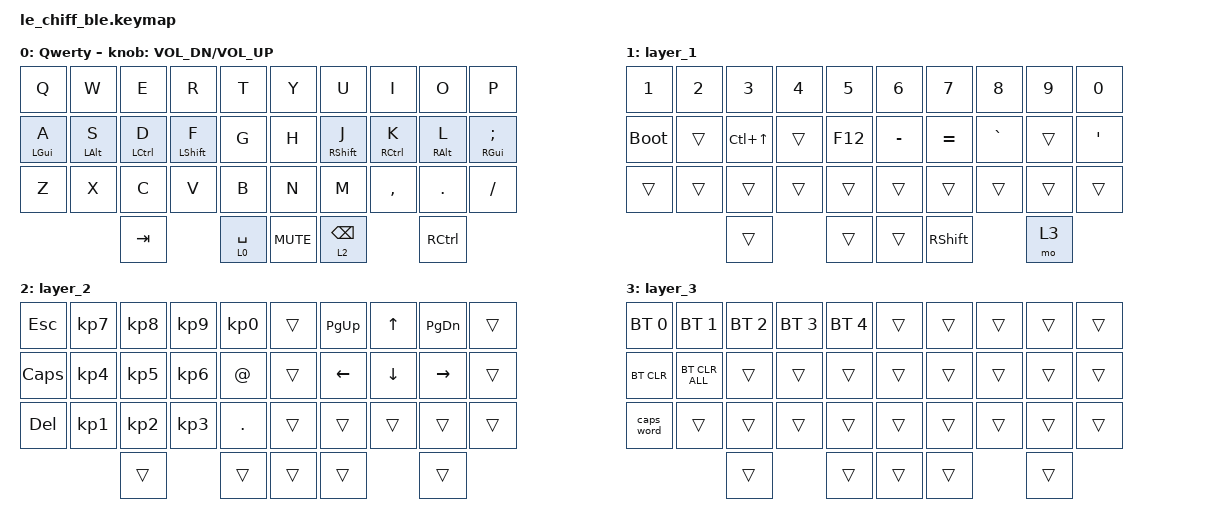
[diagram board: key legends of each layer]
/*
 * Copyright (c) 2021 @MangoIV
 *
 * SPDX-License-Identifier: MIT
 */

#include <behaviors.dtsi>
#include <dt-bindings/zmk/bt.h>
#include <dt-bindings/zmk/keys.h>

// makes it possible to hold backspace

&lt { quick_tap_ms = <200>; };

/ {
    combos {
        compatible = "zmk,combos";

        left_bkt {
            bindings = <&kp LBKT>;
            key-positions = <3 2>;
        };

        right_bkt {
            bindings = <&kp RBKT>;
            key-positions = <6 7>;
        };

        left_par {
            bindings = <&kp LPAR>;
            key-positions = <12 13>;
        };

        right_par {
            bindings = <&kp RPAR>;
            key-positions = <16 17>;
        };

        left_prc {
            bindings = <&kp LBRC>;
            key-positions = <22 23>;
        };

        right_prc {
            bindings = <&kp RBRC>;
            key-positions = <27 26>;
        };

        blsh {
            bindings = <&kp BSLH>;
            key-positions = <4 5>;
        };

        pipe {
            bindings = <&kp PIPE>;
            key-positions = <14 15>;
        };

        enter {
            bindings = <&kp ENTER>;
            key-positions = <19 18>;
        };
    };

    behaviors {
        hm: homerow_mods {
            compatible = "zmk,behavior-hold-tap";
            label = "homerow_mods";
            bindings = <&kp>, <&kp>;

            #binding-cells = <2>;
            flavor = "tap-preferred";
            tapping-term-ms = <200>;
        };
    };

    keymap {
        compatible = "zmk,keymap";

        default {
            label = "Qwerty";
            bindings = <
&kp Q       &kp W           &kp E        &kp R             &kp T        &kp Y       &kp U              &kp I        &kp O            &kp P
&hm LGUI A  &hm LEFT_ALT S  &hm LCTRL D  &hm LEFT_SHIFT F  &kp G        &kp H       &hm RIGHT_SHIFT J  &hm RCTRL K  &hm RIGHT_ALT L  &hm RIGHT_GUI SEMI
&kp Z       &kp X           &kp C        &kp V             &kp B        &kp N       &kp M              &kp COMMA    &kp DOT          &kp FSLH
                            &kp TAB                        &lt 0 SPACE  &kp C_MUTE  &lt 2 BACKSPACE                 &kp RCTRL
            >;

            sensor-bindings = <&inc_dec_kp C_VOL_DN C_VOL_UP>;
        };

        layer_1 {
            bindings = <
&kp NUMBER_1  &kp NUMBER_2  &kp NUMBER_3      &kp NUMBER_4  &kp N5   &kp NUMBER_6  &kp N7           &kp N8     &kp N9  &kp N0
&bootloader   &trans        &kp LC(UP_ARROW)  &trans        &kp F12  &kp MINUS     &kp EQUAL        &kp GRAVE  &trans  &kp SQT
&trans        &trans        &trans            &trans        &trans   &trans        &trans           &trans     &trans  &trans
                            &trans                          &trans   &trans        &kp RIGHT_SHIFT             &mo 3
            >;
        };

        layer_2 {
            bindings = <
&kp ESC       &kp KP_NUMBER_7  &kp KP_NUMBER_8  &kp KP_NUMBER_9  &kp KP_NUMBER_0  &trans  &kp PAGE_UP  &kp UP_ARROW    &kp PAGE_DOWN  &trans
&kp CAPSLOCK  &kp KP_NUMBER_4  &kp KP_NUMBER_5  &kp KP_NUMBER_6  &kp AT_SIGN      &trans  &kp LEFT     &kp DOWN_ARROW  &kp RIGHT      &trans
&kp DELETE    &kp KP_NUMBER_1  &kp KP_NUMBER_2  &kp KP_NUMBER_3  &kp DOT          &trans  &trans       &trans          &trans         &trans
                               &trans                            &trans           &trans  &trans                       &trans
            >;
        };

        layer_3 {
            bindings = <
&bt BT_SEL 0  &bt BT_SEL 1    &bt BT_SEL 2  &bt BT_SEL 3  &bt BT_SEL 4  &trans  &trans  &trans  &trans  &trans
&bt BT_CLR    &bt BT_CLR_ALL  &trans        &trans        &trans        &trans  &trans  &trans  &trans  &trans
&caps_word    &trans          &trans        &trans        &trans        &trans  &trans  &trans  &trans  &trans
                              &trans                      &trans        &trans  &trans          &trans
            >;
        };
    };
};
